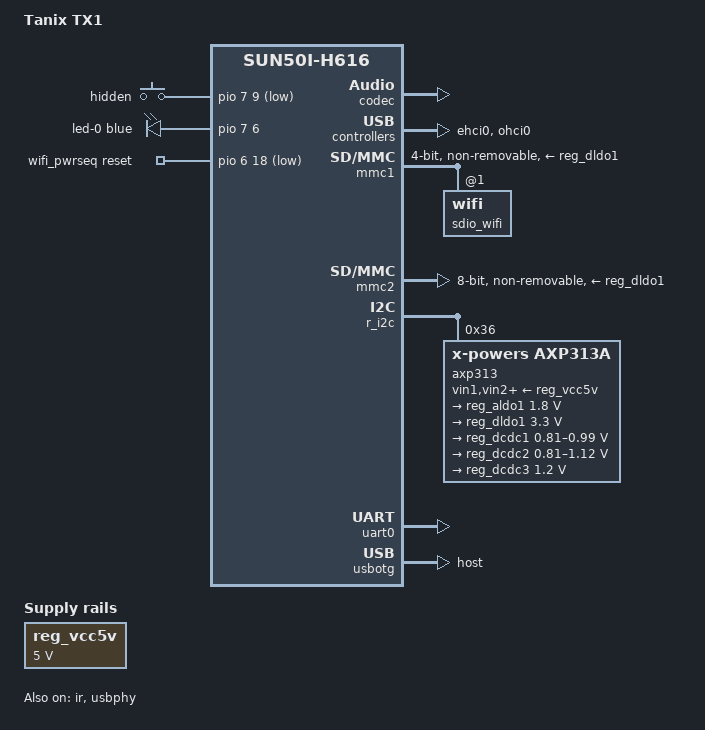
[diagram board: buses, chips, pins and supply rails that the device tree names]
// SPDX-License-Identifier: (GPL-2.0+ OR MIT)
/*
 * Copyright (C) 2024 Arm Ltd.
 */

/dts-v1/;

#include "sun50i-h616.dtsi"

#include <dt-bindings/gpio/gpio.h>
#include <dt-bindings/interrupt-controller/arm-gic.h>
#include <dt-bindings/input/linux-event-codes.h>
#include <dt-bindings/leds/common.h>

/ {
	model = "Tanix TX1";
	compatible = "oranth,tanix-tx1", "allwinner,sun50i-h616";

	aliases {
		serial0 = &uart0;
		ethernet0 = &sdio_wifi;
	};

	chosen {
		stdout-path = "serial0:115200n8";
	};

	gpio-keys {
		compatible = "gpio-keys";

		key {
			label = "hidden";
			linux,code = <BTN_0>;
			gpios = <&pio 7 9 GPIO_ACTIVE_LOW>; /* PH9 */
		};
	};

	leds {
		compatible = "gpio-leds";

		led-0 {
			function = LED_FUNCTION_POWER;
			color = <LED_COLOR_ID_BLUE>;
			gpios = <&pio 7 6 GPIO_ACTIVE_HIGH>; /* PH6 */
			default-state = "on";
		};
	};

	wifi_pwrseq: pwrseq {
		compatible = "mmc-pwrseq-simple";
		clocks = <&rtc CLK_OSC32K_FANOUT>;
		clock-names = "ext_clock";
		pinctrl-0 = <&x32clk_fanout_pin>;
		pinctrl-names = "default";
		reset-gpios = <&pio 6 18 GPIO_ACTIVE_LOW>; /* PG18 */
	};

	reg_vcc5v: vcc5v {
		/* board wide 5V supply directly from the DC input */
		compatible = "regulator-fixed";
		regulator-name = "vcc-5v";
		regulator-min-microvolt = <5000000>;
		regulator-max-microvolt = <5000000>;
		regulator-always-on;
	};
};

&codec {
	allwinner,audio-routing = "Line Out", "LINEOUT";
	status = "okay";
};

&cpu0 {
	cpu-supply = <&reg_dcdc2>;
};

&ehci0 {
	status = "okay";
};

&ir {
	status = "okay";
};

&mmc1 {
	vmmc-supply = <&reg_dldo1>;
	vqmmc-supply = <&reg_aldo1>;
	mmc-pwrseq = <&wifi_pwrseq>;
	bus-width = <4>;
	non-removable;
	status = "okay";

	sdio_wifi: wifi@1 {
		reg = <1>;
	};
};

&mmc2 {
	vmmc-supply = <&reg_dldo1>;
	vqmmc-supply = <&reg_aldo1>;
	bus-width = <8>;
	non-removable;
	max-frequency = <100000000>;
	cap-mmc-hw-reset;
	mmc-ddr-1_8v;
	status = "okay";
};

&ohci0 {
	status = "okay";
};

&pio {
	vcc-pc-supply = <&reg_aldo1>;
	vcc-pf-supply = <&reg_dldo1>;
	vcc-pg-supply = <&reg_aldo1>;
	vcc-ph-supply = <&reg_dldo1>;
	vcc-pi-supply = <&reg_dldo1>;
};

&r_i2c {
	status = "okay";

	axp313: pmic@36 {
		compatible = "x-powers,axp313a";
		reg = <0x36>;
		#interrupt-cells = <1>;
		interrupt-controller;

		vin1-supply = <&reg_vcc5v>;
		vin2-supply = <&reg_vcc5v>;
		vin3-supply = <&reg_vcc5v>;

		regulators {
			/* Supplies VCC-PLL, so needs to be always on. */
			reg_aldo1: aldo1 {
				regulator-always-on;
				regulator-min-microvolt = <1800000>;
				regulator-max-microvolt = <1800000>;
				regulator-name = "vcc1v8";
			};

			/* Supplies VCC-IO, so needs to be always on. */
			reg_dldo1: dldo1 {
				regulator-always-on;
				regulator-min-microvolt = <3300000>;
				regulator-max-microvolt = <3300000>;
				regulator-name = "vcc3v3";
			};

			reg_dcdc1: dcdc1 {
				regulator-always-on;
				regulator-min-microvolt = <810000>;
				regulator-max-microvolt = <990000>;
				regulator-name = "vdd-gpu-sys";
			};

			reg_dcdc2: dcdc2 {
				regulator-always-on;
				regulator-min-microvolt = <810000>;
				regulator-max-microvolt = <1120000>;
				regulator-name = "vdd-cpu";
			};

			reg_dcdc3: dcdc3 {
				regulator-always-on;
				regulator-min-microvolt = <1200000>;
				regulator-max-microvolt = <1200000>;
				regulator-name = "vdd-dram";
			};
		};
	};
};

&uart0 {
	pinctrl-names = "default";
	pinctrl-0 = <&uart0_ph_pins>;
	status = "okay";
};

&usbotg {
	dr_mode = "host";       /* USB A type receptable */
	status = "okay";
};

&usbphy {
	status = "okay";
};
